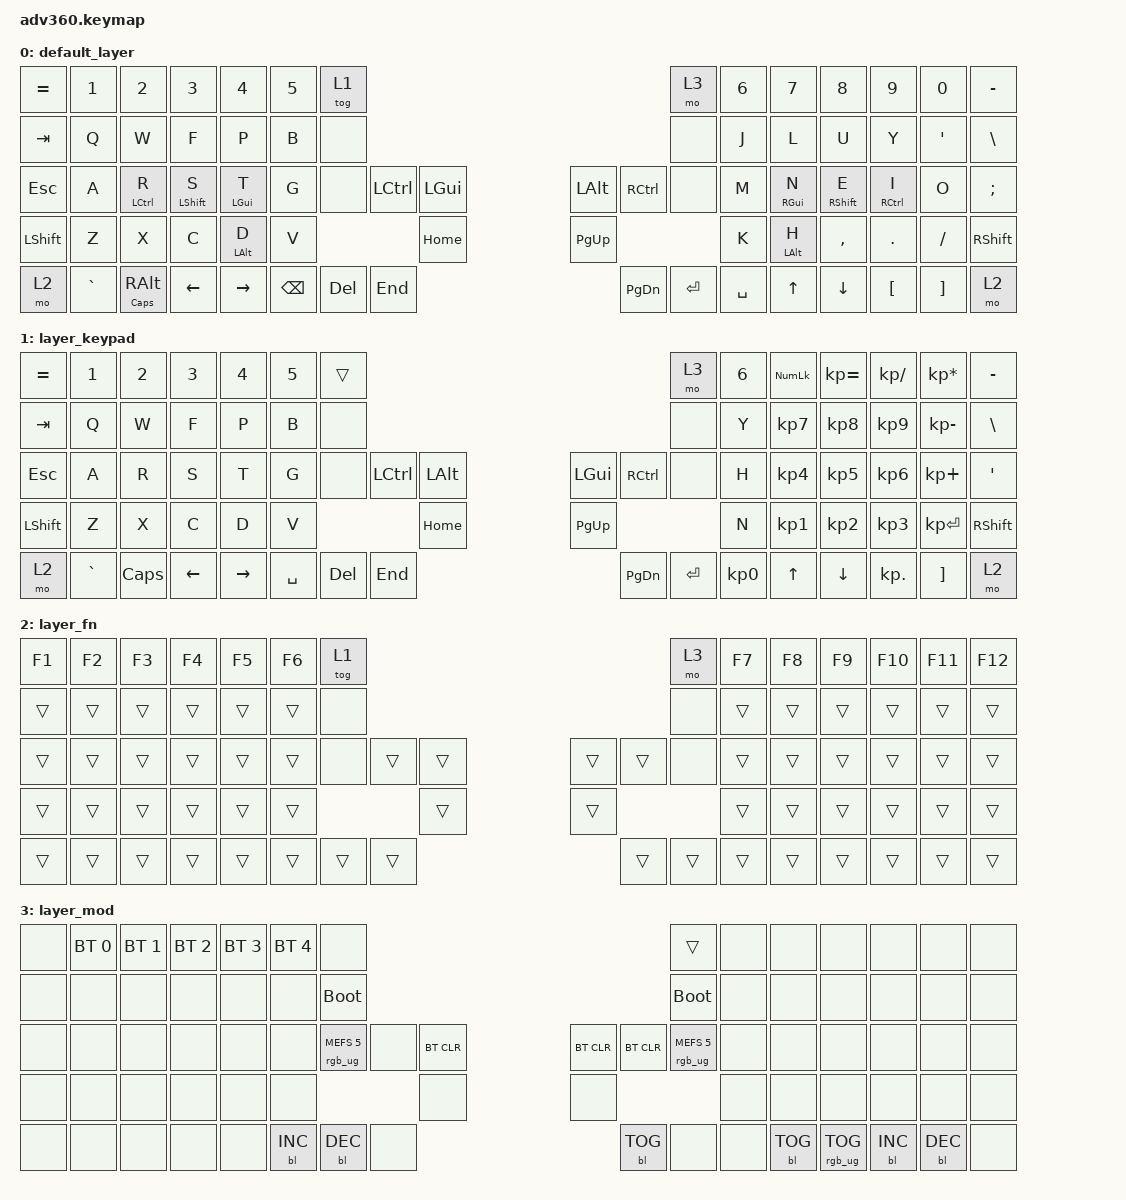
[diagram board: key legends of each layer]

/*
 * Copyright (c) 2020 The ZMK Contributors
 *
 * SPDX-License-Identifier: MIT
 */


/* THIS FILE WAS GENERATED!
 *
 * This file was generated automatically. You may or may not want to
 * edit it directly.
 */

#include <behaviors.dtsi>
#include <dt-bindings/zmk/keys.h>
#include <dt-bindings/zmk/bt.h>
#include <dt-bindings/zmk/rgb.h>
#include <dt-bindings/zmk/backlight.h>

#define KEYS_LEFT 0 1 2 3 4 5 6 \
                  14 15 16 17 18 19 20 \
                  28 29 30 31 32 33 34 \
                  46 47 48 49 50 51 \
                  66 67 68 69 70

#define KEYS_RIGHT 7 8 9 10 11 12 13 \
                   21 22 23 24 25 26 27 \
                   39 40 41 42 43 44 45 \
                   60 61 62 63 64 65 \
                   77 78 79 80 81

#define THUMBS_LEFT 35 36 54 71 72 73

#define THUMBS_RIGHT 37 38 57 74 75 76

#define THUMBS THUMBS_LEFT THUMBS_RIGHT

&lt {
    quick-tap-ms = <300>;
    global-quick-tap;
};

/ {
  behaviors {
    #include "macros.dtsi"

    hm: homerow_mods {
        compatible = "zmk,behavior-hold-tap";
        label = "HOMEROW_MODS";
        #binding-cells = <2>;
        tapping-term-ms = <200>;
        quick_tap_ms = <175>;
        flavor = "tap-preferred";
        bindings = <&kp>, <&kp>;
    };

    hm_l: homerow_mods_left {
        compatible = "zmk,behavior-hold-tap";
        label = "HOMEROW_MODS_LEFT";
        #binding-cells = <2>;
        tapping-term-ms = <150>;
        quick_tap_ms = <175>;
        flavor = "balanced";
        bindings = <&kp>, <&kp>;
        hold-trigger-key-positions = <KEYS_RIGHT THUMBS>;
    };

    hm_r: homerow_mods_right {
        compatible = "zmk,behavior-hold-tap";
        label = "HOMEROW_MODS_RIGHT";
        #binding-cells = <2>;
        tapping-term-ms = <150>;
        quick_tap_ms = <175>;
        flavor = "balanced";
        bindings = <&kp>, <&kp>;
        hold-trigger-key-positions = <KEYS_LEFT THUMBS>;
    };

    // Home row mods
    #define _S_SFT &hm_l LSHIFT S  // Shift on middle fingers
    #define _E_SFT &hm_r RSHIFT E
    #define _T_GUI &hm_l LGUI T   // Super on index fingers
    #define _N_GUI &hm_r RGUI N
    #define _D_ALT &hm_l LALT D  // Alt on index down
    #define _H_ALT &hm_r LALT H  // Use left alt twice b/c right alt is compose key
    #define _R_CTL &hm_l LCTRL R   // Ctrl on ring finger
    #define _I_CTL &hm_r RCTRL I

  };

    keymap {
        compatible = "zmk,keymap";


        default_layer {
            bindings = <
 &kp EQUAL          &kp N1          &kp N2            &kp N3              &kp N4  &kp N5              &tog 1                                                                        &mo 3  &kp N6               &kp N7             &kp N8          &kp N9            &kp N0      &kp MINUS
   &kp TAB           &kp Q           &kp W             &kp F               &kp P   &kp B               &none                                                                        &none   &kp J                &kp L              &kp U           &kp Y  &kp SINGLE_QUOTE       &kp BSLH
   &kp ESC           &kp A          _R_CTL            _S_SFT              _T_GUI   &kp G               &none  &kp LCTRL  &kp LEFT_GUI                  &kp LEFT_ALT  &kp RCTRL      &none   &kp M               _N_GUI             _E_SFT          _I_CTL             &kp O  &kp SEMICOLON
 &kp LSHFT           &kp Z           &kp X             &kp C              _D_ALT   &kp V                                     &kp HOME                     &kp PG_UP                         &kp K               _H_ALT          &kp COMMA         &kp DOT          &kp FSLH      &kp RSHFT
     &mo 2       &kp GRAV &mt CAPS RIGHT_ALT          &kp LEFT           &kp RIGHT                    &kp BSPC    &kp DEL       &kp END                     &kp PG_DN  &kp ENTER  &kp SPACE                       &kp UP           &kp DOWN        &kp LBKT          &kp RBKT          &mo 2
            >;
        };

        layer_keypad {
            bindings = <
 &kp EQUAL     &kp N1    &kp N2    &kp N3     &kp N4  &kp N5              &trans                                                                 &mo 3  &kp N6  &kp KP_NUM  &kp KP_EQUAL  &kp KP_DIVIDE  &kp KP_MULTIPLY  &kp MINUS
   &kp TAB      &kp Q     &kp W     &kp F      &kp P   &kp B               &none                                                                 &none   &kp Y   &kp KP_N7     &kp KP_N8      &kp KP_N9     &kp KP_MINUS   &kp BSLH
   &kp ESC      &kp A     &kp R     &kp S      &kp T   &kp G               &none  &kp LCTRL  &kp LALT                   &kp LGUI  &kp RCTRL      &none   &kp H   &kp KP_N4     &kp KP_N5      &kp KP_N6      &kp KP_PLUS    &kp SQT
 &kp LSHFT      &kp Z     &kp X     &kp C      &kp D   &kp V                                 &kp HOME                  &kp PG_UP                         &kp N   &kp KP_N1     &kp KP_N2      &kp KP_N3     &kp KP_ENTER  &kp RSHFT
     &mo 2  &kp GRAVE  &kp CAPS  &kp LEFT  &kp RIGHT                    &kp SPACE    &kp DEL   &kp END                  &kp PG_DN  &kp ENTER  &kp KP_N0              &kp UP      &kp DOWN     &kp KP_DOT         &kp RBKT      &mo 2
            >;
        };

        layer_fn {
            bindings = <
 &kp F1  &kp F2  &kp F3  &kp F4  &kp F5  &kp F6            &tog 1                                                   &mo 3  &kp F7  &kp F8  &kp F9  &kp F10  &kp F11  &kp F12
 &trans  &trans  &trans  &trans  &trans  &trans             &none                                                   &none  &trans  &trans  &trans   &trans   &trans   &trans
 &trans  &trans  &trans  &trans  &trans  &trans             &none  &trans  &trans                  &trans  &trans   &none  &trans  &trans  &trans   &trans   &trans   &trans
 &trans  &trans  &trans  &trans  &trans  &trans                            &trans                  &trans                  &trans  &trans  &trans   &trans   &trans   &trans
 &trans  &trans  &trans  &trans  &trans                    &trans  &trans  &trans                  &trans  &trans  &trans          &trans  &trans   &trans   &trans   &trans
            >;
        };

        layer_mod {
            bindings = <
  &none  &bt BT_SEL 0  &bt BT_SEL 1  &bt BT_SEL 2  &bt BT_SEL 3  &bt BT_SEL 4                             &none                                                                                  &trans   &none       &none            &none       &none       &none   &none
  &none         &none         &none         &none         &none         &none                       &bootloader                                                                             &bootloader   &none       &none            &none       &none       &none   &none
  &none         &none         &none         &none         &none         &none            &rgb_ug RGB_MEFS_CMD 5       &none  &bt BT_CLR                  &bt BT_CLR  &bt BT_CLR  &rgb_ug RGB_MEFS_CMD 5   &none       &none            &none       &none       &none   &none
  &none         &none         &none         &none         &none         &none                                                     &none                       &none                                       &none       &none            &none       &none       &none   &none
  &none         &none         &none         &none         &none                                      &bl BL_INC  &bl BL_DEC       &none                  &bl BL_TOG       &none                   &none          &bl BL_TOG  &rgb_ug RGB_TOG  &bl BL_INC  &bl BL_DEC   &none
            >;
        };

    };
};
